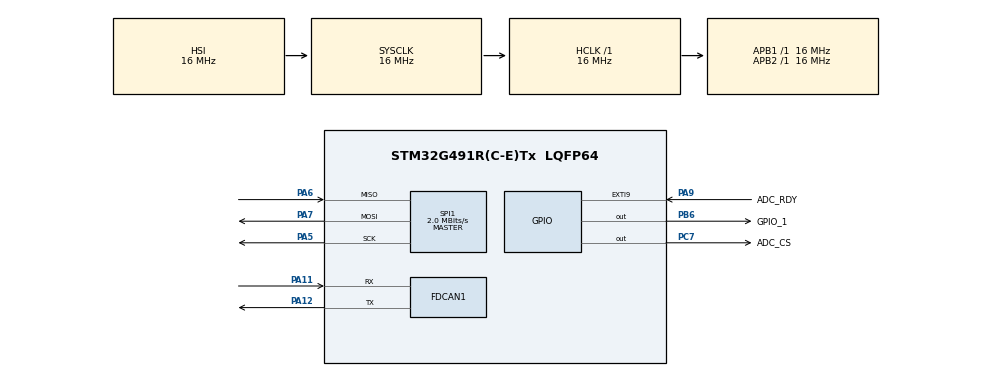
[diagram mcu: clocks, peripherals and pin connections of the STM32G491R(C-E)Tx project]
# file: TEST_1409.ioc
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FDCAN1.CalculateBaudRateNominal=1000000
FDCAN1.CalculateTimeBitNominal=1000
FDCAN1.CalculateTimeQuantumNominal=62.5
FDCAN1.NominalPrescaler=1
FDCAN1.NominalSyncJumpWidth=2
FDCAN1.NominalTimeSeg1=12
FDCAN1.NominalTimeSeg2=3
Mcu.Family=STM32G4
Mcu.Name=STM32G491R(C-E)Tx
Mcu.Package=LQFP64
NUCLEO-G491RE.BUTTON=1
NUCLEO-G491RE.Bsp_Common_DEMO=true
NUCLEO-G491RE.LD2=false
NUCLEO-G491RE.VCP=true
NVIC.EXTI15_10_IRQn=true\:1\:0\:true\:false\:true\:false\:true\:true
NVIC.EXTI9_5_IRQn=true\:1\:0\:true\:false\:true\:true\:true\:true
NVIC.FDCAN1_IT0_IRQn=true\:0\:0\:false\:false\:true\:true\:true\:true
NVIC.FDCAN1_IT1_IRQn=true\:0\:0\:false\:false\:true\:true\:true\:true
NVIC.PriorityGroup=NVIC_PRIORITYGROUP_4
NVIC.SPI1_IRQn=true\:0\:0\:false\:false\:true\:true\:true\:true
PA11.Mode=FDCAN_Activate
PA11.Signal=FDCAN1_RX
PA12.Mode=FDCAN_Activate
PA12.Signal=FDCAN1_TX
PA13.GPIO_Label=T_SWDIO
PA13.Signal=SYS_JTMS-SWDIO
PA14.GPIO_Label=T_SWCLK
PA14.Signal=SYS_JTCK-SWCLK
PA2.Signal=LPUART1_TX
PA3.Signal=LPUART1_RX
PA5.GPIO_Speed=GPIO_SPEED_FREQ_HIGH
PA5.Mode=Full_Duplex_Master
PA5.Signal=SPI1_SCK
PA6.GPIO_PuPd=GPIO_NOPULL
PA6.GPIO_Speed=GPIO_SPEED_FREQ_HIGH
PA6.Mode=Full_Duplex_Master
PA6.Signal=SPI1_MISO
PA7.GPIO_Speed=GPIO_SPEED_FREQ_HIGH
PA7.Mode=Full_Duplex_Master
PA7.Signal=SPI1_MOSI
PA9.GPIO_Label=ADC_RDY
PA9.GPIO_ModeDefaultEXTI=GPIO_MODE_IT_FALLING
PA9.GPIO_PuPd=GPIO_PULLUP
PA9.Signal=GPXTI9
PB3.GPIO_Label=T_SWO
PB3.Signal=SYS_JTDO-SWO
PB6.GPIO_Label=GPIO_1
PB6.GPIO_Speed=GPIO_SPEED_FREQ_HIGH
PB6.PinState=GPIO_PIN_SET
PB6.Signal=GPIO_Output
PC14-OSC32_IN.GPIO_Label=RCC_OSC32_IN
PC14-OSC32_IN.Signal=RCC_OSC32_IN
PC15-OSC32_OUT.GPIO_Label=RCC_OSC32_OUT
PC15-OSC32_OUT.Signal=RCC_OSC32_OUT
PC7.GPIO_Label=ADC_CS
PC7.PinState=GPIO_PIN_SET
PC7.Signal=GPIO_Output
PF0-OSC_IN.GPIO_Label=RCC_OSC_IN
PF0-OSC_IN.Mode=HSE-External-Clock-Source
PF0-OSC_IN.Signal=RCC_OSC_IN
PF1-OSC_OUT.GPIO_Label=RCC_OSC_OUT
PF1-OSC_OUT.Signal=RCC_OSC_OUT
ProjectManager.HeapSize=0x200
ProjectManager.StackSize=0x400
ProjectManager.TargetToolchain=STM32CubeIDE
RCC.ADC12Freq_Value=16000000
RCC.ADC345Freq_Value=16000000
RCC.AHBFreq_Value=16000000
RCC.APB1Freq_Value=16000000
RCC.APB1TimFreq_Value=16000000
RCC.APB2Freq_Value=16000000
RCC.APB2TimFreq_Value=16000000
RCC.CortexFreq_Value=16000000
RCC.EXTERNAL_CLOCK_VALUE=12288000
RCC.HCLKFreq_Value=16000000
RCC.HSE_VALUE=8000000
RCC.HSI48_VALUE=48000000
RCC.HSI_VALUE=16000000
RCC.LSE_VALUE=32768
RCC.PLLM=RCC_PLLM_DIV2
RCC.PLLN=12
RCC.PWR_Regulator_Voltage_Scale=PWR_REGULATOR_VOLTAGE_SCALE1_BOOST
RCC.RTCClockSelection=RCC_RTCCLKSOURCE_LSE
RCC.SYSCLKFreq_VALUE=16000000
RCC.USBFreq_Value=48000000
RCC.VCOOutputFreq_Value=96000000
SPI1.BaudRatePrescaler=SPI_BAUDRATEPRESCALER_8
SPI1.CLKPhase=SPI_PHASE_2EDGE
SPI1.CLKPolarity=SPI_POLARITY_HIGH
SPI1.CalculateBaudRate=2.0 MBits/s
SPI1.DataSize=SPI_DATASIZE_8BIT
SPI1.Direction=SPI_DIRECTION_2LINES
SPI1.Mode=SPI_MODE_MASTER
SPI1.VirtualType=VM_MASTER
VP_NUCLEO-G491RE_VS_BSP_COMMON.Mode=COMMON
VP_SYS_VS_DBSignals.Mode=DisableDeadBatterySignals
board=NUCLEO-G491RE

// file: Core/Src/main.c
/* USER CODE BEGIN Header */
/**
  ******************************************************************************
  * @file           : main.c
  * @brief          : Main program body
  ******************************************************************************
  * @attention
  *
  * Copyright (c) 2026 STMicroelectronics.
  * All rights reserved.
  *
  * This software is licensed under terms that can be found in the LICENSE file
  * in the root directory of this software component.
  * If no LICENSE file comes with this software, it is provided AS-IS.
  *
  ******************************************************************************
  */
/* USER CODE END Header */
#include "main.h"

/* USER CODE BEGIN Includes */
#include "ad7732_pressure.h"
#include <stdbool.h>

/* USER CODE END Includes */

/* USER CODE BEGIN PD */
#define AD7732_REG_REVISION 0x02U
#define AD7732_REG_TEST     0x03U

/* USER CODE END PD */

COM_InitTypeDef BspCOMInit;
__IO uint32_t BspButtonState = BUTTON_RELEASED;
FDCAN_HandleTypeDef hfdcan1;

SPI_HandleTypeDef hspi1;

/* USER CODE BEGIN PV */
static bool ad7732Zeroed = false;     /* set true after the zero offset is stored */

FDCAN_TxHeaderTypeDef TxHeader;
FDCAN_RxHeaderTypeDef RxHeader; // <-- Ensure this is exactly 'RxHeader'
FDCAN_FilterTypeDef   sFilterConfig;

uint8_t TxData[8] = {0xAA, 0xBB, 0xCC, 0xDD, 0x11, 0x22, 0x33, 0x44};
uint8_t RxData[8];              // <-- Ensure this is an array of 8 bytes

// Global signaling flag: volatile prevents the compiler from optimizing it out
volatile uint8_t newMessageReady = 0;
volatile uint8_t ad7732ReadyFlag = 0;
volatile uint32_t ad7732InterruptCount = 0U;
uint32_t ad7732LastInterruptCount = 0U;
uint32_t buttonNextCanTxMs = 0U;
uint32_t canLedOffMs = 0U;

/* USER CODE END PV */

void SystemClock_Config(void);
static void MX_GPIO_Init(void);
static void MX_FDCAN1_Init(void);
static void MX_SPI1_Init(void);
/* USER CODE BEGIN PFP */
static bool AD7732_Detect(uint8_t *revision);
static bool AD7732_ReadRevision(uint8_t *revision);
static bool AD7732_ReadRegister(uint8_t registerAddress, uint8_t *value);

/* USER CODE END PFP */

int main(void)
{

  /* MCU Configuration--------------------------------------------------------*/

  /* Reset of all peripherals, Initializes the Flash interface and the Systick. */
  HAL_Init();

  /* Configure the system clock */
  SystemClock_Config();

  /* Initialize all configured peripherals */
  MX_GPIO_Init();
  MX_FDCAN1_Init();
  MX_SPI1_Init();
  /* USER CODE BEGIN 2 */

  // 1. Configure the Filter to strictly match ID 0x456
  sFilterConfig.IdType = FDCAN_STANDARD_ID;
  sFilterConfig.FilterIndex = 0;
  sFilterConfig.FilterType = FDCAN_FILTER_MASK;          // Switch from RANGE to MASK
  sFilterConfig.FilterConfig = FDCAN_FILTER_TO_RXFIFO0;
  sFilterConfig.FilterID1 = 0x456;                      // The target ID we want
  sFilterConfig.FilterID2 = 0x7FF;                      // The mask (0x7FF means look at every bit)

  if (HAL_FDCAN_ConfigFilter(&hfdcan1, &sFilterConfig) != HAL_OK)
  {
      Error_Handler();
  }
  /*
  // 1. Configure Rx Filter to accept all standard message IDs (0x000 to 0x7FF)
  sFilterConfig.IdType = FDCAN_STANDARD_ID;
  sFilterConfig.FilterIndex = 0;
  sFilterConfig.FilterType = FDCAN_FILTER_RANGE;
  sFilterConfig.FilterConfig = FDCAN_FILTER_TO_RXFIFO0;
  sFilterConfig.FilterID1 = 0x000;
  sFilterConfig.FilterID2 = 0x7FF;
  HAL_FDCAN_ConfigFilter(&hfdcan1, &sFilterConfig);*/

  // 2. Format the Transmission Header strictly for Classic CAN mode
  TxHeader.Identifier = 0x12;                  // CAN ID visible to Waveshare
  TxHeader.IdType = FDCAN_STANDARD_ID;
  TxHeader.TxFrameType = FDCAN_DATA_FRAME;
  TxHeader.DataLength = FDCAN_DLC_BYTES_8;       // Sending 8 bytes
  TxHeader.ErrorStateIndicator = FDCAN_ESI_ACTIVE;
  TxHeader.BitRateSwitch = FDCAN_BRS_OFF;        // CRITICAL: Disable CAN-FD speed switching
  TxHeader.FDFormat = FDCAN_CLASSIC_CAN;         // CRITICAL: Force Classic CAN mode
  TxHeader.TxEventFifoControl = FDCAN_NO_TX_EVENTS;
  TxHeader.MessageMarker = 0;

  // 3. Kickstart the CAN peripheral hardware
  HAL_FDCAN_Start(&hfdcan1);

  // Change this line to use _NEW_MESSAGE as well
  if (HAL_FDCAN_ActivateNotification(&hfdcan1, FDCAN_IT_RX_FIFO0_NEW_MESSAGE, 0) != HAL_OK)
  {
      Error_Handler();
  }
  /* USER CODE END 2 */

  /* Initialize USER push-button, will be used to trigger an interrupt each time it's pressed.*/
  BSP_PB_Init(BUTTON_USER, BUTTON_MODE_EXTI);

  /* Initialize COM1 port (115200, 8 bits (7-bit data + 1 stop bit), no parity */
  BspCOMInit.BaudRate   = 115200;
  BspCOMInit.WordLength = COM_WORDLENGTH_8B;
  BspCOMInit.StopBits   = COM_STOPBITS_1;
  BspCOMInit.Parity     = COM_PARITY_NONE;
  BspCOMInit.HwFlowCtl  = COM_HWCONTROL_NONE;
  if (BSP_COM_Init(COM1, &BspCOMInit) != BSP_ERROR_NONE)
  {
    Error_Handler();
  }

  /* USER CODE BEGIN BSP */

  uint8_t ad7732Revision = 0;
  if (AD7732_Detect(&ad7732Revision))
  {
    printf("AD7732 detected (revision register: 0x%02X)\r\n", ad7732Revision);

    uint8_t ad7732TestRegister = 0;
    if (AD7732_ReadRegister(AD7732_REG_TEST, &ad7732TestRegister))
    {
      printf("AD7732 manufacturing test register (0x03): 0x%02X\r\n",
             ad7732TestRegister);
    }
    else
    {
      printf("Failed to read AD7732 manufacturing test register\r\n");
    }
  }
  else
  {
    printf("AD7732 not detected; check power, wiring, CS, and SPI settings\r\n");
  }

  /* -- Sample board code to send message over COM1 port ---- */
  printf("Welcome to STM32 world --- !\n\r");

  /* -- Sample board code to switch on led ---- */

  bool ad7732Initialized = ad7732_init();
  if (ad7732Initialized)
  {
	  printf ("AD7732 initialization successful \r\n");
  }
  else
  {
	  printf ("AD7732 initialization fail \r\n");
  }
  BSP_LED_On(LED_GREEN);

  uint32_t ad7732LastReadMs = HAL_GetTick();
  /* USER CODE END BSP */

  /* Infinite loop */
  /* USER CODE BEGIN WHILE */
  while (1)
  {
	  uint32_t nowMs = HAL_GetTick();
	  if ((canLedOffMs != 0U) &&
	      ((uint32_t)(nowMs - canLedOffMs) >= 2000U))
	  {
		  HAL_GPIO_WritePin(GPIOA, GPIO_PIN_5, GPIO_PIN_RESET);
		  canLedOffMs = 0U;
	  }
	  if (ad7732Initialized && ((uint32_t)(nowMs - ad7732LastReadMs) >= 1000U))
	  {
		  ad7732_stats_t st;
		  ad7732LastReadMs = nowMs;

		  if (ad7732_take_stats(&st))
		  {
			  uint32_t interruptCount = ad7732InterruptCount;
			  uint32_t interruptDelta = interruptCount - ad7732LastInterruptCount;
			  ad7732LastInterruptCount = interruptCount;

			  /* Optional: take the first window as 0 psi.
	         	 Only valid if the sensor is at zero pressure and has warmed up. */
			  if (!ad7732Zeroed)
			  {
				  ad7732_set_zero(st.raw_mean);
				  ad7732Zeroed = true;
			  }

			  long minMpsi  = (long)(ad7732_raw_to_psi(st.raw_min)  * 1000.0);
			  long maxMpsi  = (long)(ad7732_raw_to_psi(st.raw_max)  * 1000.0);
			  long meanMpsi = (long)(ad7732_raw_to_psi(st.raw_mean) * 1000.0);

			  printf("AD7732 irq=%lu, delta=%lu, n=%lu, min=%ld, max=%ld, mean=%ld mpsi, pp=%ld mpsi, ADCpk=%ld mV, flags=0x%02X\r\n",
	             (unsigned long)interruptCount, (unsigned long)interruptDelta, (unsigned long)st.n,
	             minMpsi, maxMpsi, meanMpsi,
	             maxMpsi - minMpsi,
	             (long)(ad7732_raw_to_volts(st.raw_max) * 1000.0),
	             st.flags);
		  }
		  else
		  {
			  printf("AD7732: no conversions received (check RDY wiring and EXTI)\r\n");
		  }
	  }

    /* -- Sample board code for User push-button in interrupt mode ---- */
    if (BspButtonState == BUTTON_PRESSED)
    {
      /* Update button state */
      BspButtonState = BUTTON_RELEASED;
      if ((int32_t)(HAL_GetTick() - buttonNextCanTxMs) < 0)
      {
        continue;
      }
      /* -- Sample board code to toggle led ---- */
      BSP_LED_Toggle(LED_GREEN);

      printf ("CAN HELLO \r\n");

      // Diagnostic safety block: If HSI clock drifts and forces a Bus-Off, reset the line
      if (hfdcan1.Instance->PSR & FDCAN_PSR_BO)
      {
          HAL_FDCAN_Stop(&hfdcan1);
          HAL_FDCAN_Start(&hfdcan1);
      }

      // Push the data frame onto the physical CAN bus lines
      //in Waveshare configure set filter id = 0x12, and mask id as 0x7FF.
      //On pressing User blue button, aa bb cc dd 11 22 33 44 will be visible in Waveshare.
      if (HAL_FDCAN_AddMessageToTxFifoQ(&hfdcan1, &TxHeader, TxData) == HAL_OK)
      {
          HAL_GPIO_TogglePin(GPIOA, GPIO_PIN_5); // Toggle Nucleo Green LED on a successful queue
          buttonNextCanTxMs = HAL_GetTick() + 1000U;
      }
      /* ..... Perform your action ..... */
    }

    // Check if the background interrupt flag has signaled a fresh arrival
        if (newMessageReady == 1)
        {
            // Lower the flag immediately so we don't process the same packet twice
            newMessageReady = 0;

            // Example logic: Extract payload parameters safely inside main context
            uint8_t commandByte = RxData[0];
            uint8_t valueByte   = RxData[1];

            // If the Waveshare adapter sent 0x99 as the first data byte, do something special
            //From Waveshare, configure 1 Mbits (Set and Start) in must be configured,
            //and enter id(Hex) = 456 and data 99 11 22 33 44 55 66 77 in manually send.
            if (commandByte == 0x99)
            {
                // You can use regular safe delays or intensive logic here!
                HAL_GPIO_WritePin(GPIOA, GPIO_PIN_5, GPIO_PIN_SET);
                canLedOffMs = HAL_GetTick();
                printf ("New CAN message \r\n");
            }
        }

    /* USER CODE END WHILE */

  }
}

void SystemClock_Config(void)
{
  RCC_OscInitTypeDef RCC_OscInitStruct = {0};
  RCC_ClkInitTypeDef RCC_ClkInitStruct = {0};

  /** Configure the main internal regulator output voltage
  */
  HAL_PWREx_ControlVoltageScaling(PWR_REGULATOR_VOLTAGE_SCALE1_BOOST);

  /** Initializes the RCC Oscillators according to the specified parameters
  * in the RCC_OscInitTypeDef structure.
  */
  RCC_OscInitStruct.OscillatorType = RCC_OSCILLATORTYPE_HSI;
  RCC_OscInitStruct.HSIState = RCC_HSI_ON;
  RCC_OscInitStruct.HSICalibrationValue = RCC_HSICALIBRATION_DEFAULT;
  RCC_OscInitStruct.PLL.PLLState = RCC_PLL_NONE;
  if (HAL_RCC_OscConfig(&RCC_OscInitStruct) != HAL_OK)
  {
    Error_Handler();
  }

  /** Initializes the CPU, AHB and APB buses clocks
  */
  RCC_ClkInitStruct.ClockType = RCC_CLOCKTYPE_HCLK|RCC_CLOCKTYPE_SYSCLK
                              |RCC_CLOCKTYPE_PCLK1|RCC_CLOCKTYPE_PCLK2;
  RCC_ClkInitStruct.SYSCLKSource = RCC_SYSCLKSOURCE_HSI;
  RCC_ClkInitStruct.AHBCLKDivider = RCC_SYSCLK_DIV1;
  RCC_ClkInitStruct.APB1CLKDivider = RCC_HCLK_DIV1;
  RCC_ClkInitStruct.APB2CLKDivider = RCC_HCLK_DIV1;

  if (HAL_RCC_ClockConfig(&RCC_ClkInitStruct, FLASH_LATENCY_0) != HAL_OK)
  {
    Error_Handler();
  }
}

static void MX_FDCAN1_Init(void)
{

  hfdcan1.Instance = FDCAN1;
  hfdcan1.Init.ClockDivider = FDCAN_CLOCK_DIV1;
  hfdcan1.Init.FrameFormat = FDCAN_FRAME_CLASSIC;
  hfdcan1.Init.Mode = FDCAN_MODE_NORMAL;
  hfdcan1.Init.AutoRetransmission = DISABLE;
  hfdcan1.Init.TransmitPause = DISABLE;
  hfdcan1.Init.ProtocolException = DISABLE;
  hfdcan1.Init.NominalPrescaler = 1;
  hfdcan1.Init.NominalSyncJumpWidth = 2;
  hfdcan1.Init.NominalTimeSeg1 = 12;
  hfdcan1.Init.NominalTimeSeg2 = 3;
  hfdcan1.Init.DataPrescaler = 1;
  hfdcan1.Init.DataSyncJumpWidth = 1;
  hfdcan1.Init.DataTimeSeg1 = 1;
  hfdcan1.Init.DataTimeSeg2 = 1;
  hfdcan1.Init.StdFiltersNbr = 0;
  hfdcan1.Init.ExtFiltersNbr = 0;
  hfdcan1.Init.TxFifoQueueMode = FDCAN_TX_FIFO_OPERATION;
  if (HAL_FDCAN_Init(&hfdcan1) != HAL_OK)
  {
    Error_Handler();
  }

}

static void MX_SPI1_Init(void)
{

  /* SPI1 parameter configuration*/
  hspi1.Instance = SPI1;
  hspi1.Init.Mode = SPI_MODE_MASTER;
  hspi1.Init.Direction = SPI_DIRECTION_2LINES;
  hspi1.Init.DataSize = SPI_DATASIZE_8BIT;
  hspi1.Init.CLKPolarity = SPI_POLARITY_HIGH;
  hspi1.Init.CLKPhase = SPI_PHASE_2EDGE;
  hspi1.Init.NSS = SPI_NSS_SOFT;
  hspi1.Init.BaudRatePrescaler = SPI_BAUDRATEPRESCALER_8;
  hspi1.Init.FirstBit = SPI_FIRSTBIT_MSB;
  hspi1.Init.TIMode = SPI_TIMODE_DISABLE;
  hspi1.Init.CRCCalculation = SPI_CRCCALCULATION_DISABLE;
  hspi1.Init.CRCPolynomial = 7;
  hspi1.Init.CRCLength = SPI_CRC_LENGTH_DATASIZE;
  hspi1.Init.NSSPMode = SPI_NSS_PULSE_DISABLE;
  if (HAL_SPI_Init(&hspi1) != HAL_OK)
  {
    Error_Handler();
  }

}

static void MX_GPIO_Init(void)
{
  GPIO_InitTypeDef GPIO_InitStruct = {0};

  /* GPIO Ports Clock Enable */
  __HAL_RCC_GPIOC_CLK_ENABLE();
  __HAL_RCC_GPIOF_CLK_ENABLE();
  __HAL_RCC_GPIOA_CLK_ENABLE();
  __HAL_RCC_GPIOB_CLK_ENABLE();

  /*Configure GPIO pin Output Level */
  HAL_GPIO_WritePin(ADC_CS_GPIO_Port, ADC_CS_Pin, GPIO_PIN_SET);

  /*Configure GPIO pin Output Level */
  HAL_GPIO_WritePin(GPIO_1_GPIO_Port, GPIO_1_Pin, GPIO_PIN_SET);

  /*Configure GPIO pin : ADC_CS_Pin */
  GPIO_InitStruct.Pin = ADC_CS_Pin;
  GPIO_InitStruct.Mode = GPIO_MODE_OUTPUT_PP;
  GPIO_InitStruct.Pull = GPIO_NOPULL;
  GPIO_InitStruct.Speed = GPIO_SPEED_FREQ_LOW;
  HAL_GPIO_Init(ADC_CS_GPIO_Port, &GPIO_InitStruct);

  /*Configure GPIO pin : ADC_RDY_Pin */
  GPIO_InitStruct.Pin = ADC_RDY_Pin;
  GPIO_InitStruct.Mode = GPIO_MODE_IT_FALLING;
  GPIO_InitStruct.Pull = GPIO_PULLUP;
  HAL_GPIO_Init(ADC_RDY_GPIO_Port, &GPIO_InitStruct);

  /*Configure GPIO pin : GPIO_1_Pin */
  GPIO_InitStruct.Pin = GPIO_1_Pin;
  GPIO_InitStruct.Mode = GPIO_MODE_OUTPUT_PP;
  GPIO_InitStruct.Pull = GPIO_NOPULL;
  GPIO_InitStruct.Speed = GPIO_SPEED_FREQ_HIGH;
  HAL_GPIO_Init(GPIO_1_GPIO_Port, &GPIO_InitStruct);

  /* EXTI interrupt init*/
  HAL_NVIC_SetPriority(EXTI9_5_IRQn, 1, 0);
  HAL_NVIC_EnableIRQ(EXTI9_5_IRQn);

}

/* USER CODE BEGIN 4 */
static bool AD7732_ReadRevision(uint8_t *revision)
{
  return AD7732_ReadRegister(AD7732_REG_REVISION, revision);
}

static bool AD7732_ReadRegister(uint8_t registerAddress, uint8_t *value)
{
  uint8_t tx[2] = {(uint8_t)(0x40U | (registerAddress & 0x3FU)), 0x00U};
  uint8_t rx[2] = {0U, 0U};
  HAL_StatusTypeDef status;

  if (value == NULL)
  {
    return false;
  }

  HAL_GPIO_WritePin(ADC_CS_GPIO_Port, ADC_CS_Pin, GPIO_PIN_RESET);
  status = HAL_SPI_TransmitReceive(&hspi1, tx, rx, sizeof(tx), 100U);
  HAL_GPIO_WritePin(ADC_CS_GPIO_Port, ADC_CS_Pin, GPIO_PIN_SET);

  if (status != HAL_OK)
  {
    printf("AD7732 SPI register 0x%02X read failed (HAL status %d)\r\n",
           registerAddress, status);
    return false;
  }

  *value = rx[1];
  return true;
}

static bool AD7732_Detect(uint8_t *revision)
{
  uint8_t resetBytes[4] = {0xFFU, 0xFFU, 0xFFU, 0xFFU};
  uint8_t firstRevision;
  uint8_t secondRevision;

  if (revision == NULL)
  {
    return false;
  }

  HAL_GPIO_WritePin(ADC_CS_GPIO_Port, ADC_CS_Pin, GPIO_PIN_RESET);
  HAL_StatusTypeDef status = HAL_SPI_Transmit(&hspi1, resetBytes, sizeof(resetBytes), 100U);
  HAL_GPIO_WritePin(ADC_CS_GPIO_Port, ADC_CS_Pin, GPIO_PIN_SET);
  if (status != HAL_OK)
  {
    printf("AD7732 SPI interface reset failed (HAL status %d)\r\n", status);
    return false;
  }
  HAL_Delay(1U);

  for (uint8_t attempt = 0U; attempt < 3U; attempt++)
  {
    if (AD7732_ReadRevision(&firstRevision) &&
        AD7732_ReadRevision(&secondRevision) &&
        (firstRevision == secondRevision) &&
        ((firstRevision & 0x0FU) == 0x04U))
    {
      *revision = firstRevision;
      return true;
    }

    HAL_Delay(10U);
  }

  return false;
}

void HAL_GPIO_EXTI_Callback(uint16_t GPIO_Pin)
{
  if (GPIO_Pin == ADC_RDY_Pin)
  {
    ad7732ReadyFlag = 1;
    ad7732InterruptCount++;
    ad7732_rdy_isr();
  }
}

void HAL_FDCAN_RxFifo0Callback(FDCAN_HandleTypeDef *hfdcan, uint32_t RxFifo0ITs)
{
    if ((RxFifo0ITs & FDCAN_IT_RX_FIFO0_NEW_MESSAGE) != 0)
    {
        if (HAL_FDCAN_GetRxMessage(hfdcan, FDCAN_RX_FIFO0, &RxHeader, RxData) == HAL_OK)
        {
        	newMessageReady = 1;
        }
    }
}
/* USER CODE END 4 */

/**
  * @brief BSP Push Button callback
  * @param Button Specifies the pressed button
  * @retval None
  */
void BSP_PB_Callback(Button_TypeDef Button)
{
  if (Button == BUTTON_USER)
  {
    BspButtonState = BUTTON_PRESSED;
  }
}

void Error_Handler(void)
{
  __disable_irq();
  while (1)
  {
  }
}
